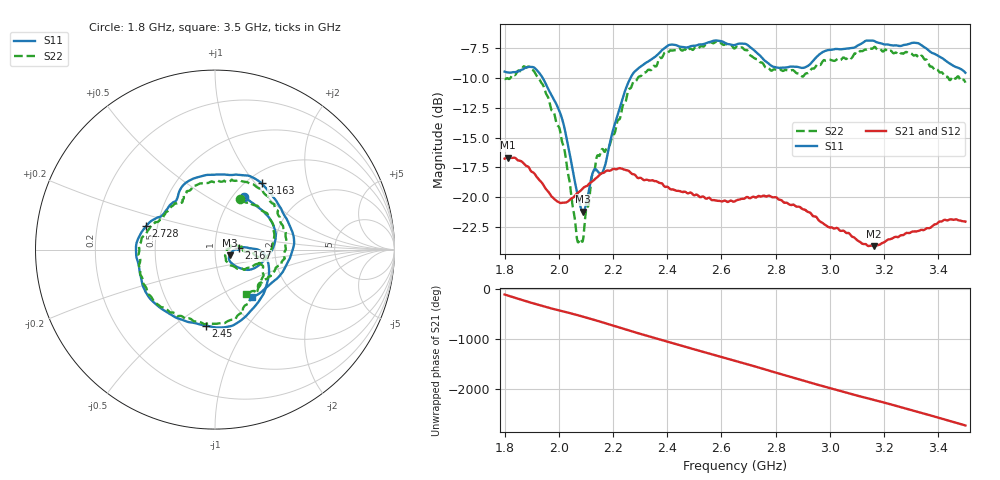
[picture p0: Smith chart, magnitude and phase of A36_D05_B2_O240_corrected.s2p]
! Created with skrf 1.9.0 (http://scikit-rf.org).
# Hz S RI R 50.0
!freq ReS11 ImS11 ReS21 ImS21 ReS12 ImS12 ReS22 ImS22
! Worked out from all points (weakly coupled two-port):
!   1601 points, 1.8 GHz to 3.5 GHz, reference 50 ohm
!   highest |S21| = -16.67 dB at 1.812 GHz (marker M1); lowest = -24.1 dB at 3.162 GHz (marker M2)
!   lowest |S11| = -21.2 dB at 2.09 GHz (marker M3), VSWR 1.19, Z = 58.7 - j3.85 ohm
!   |S11| at or under -10 dB: 1.941 GHz to 2.264 GHz (323.6 MHz wide, 15.4 % of centre)
!   |S22| runs from -23.8 to -7.0 dB; largest |S21 - S12| = 0.0026
!   S11 on the Smith chart (normalised r, x): 1.8 GHz: 1.13, +0.75; 2.167 GHz: 1.30, +0.02; 2.45 GHz: 0.64, -0.66; 2.728 GHz: 0.43, +0.13; 3.163 GHz: 1.16, +1.08; 3.5 GHz: 1.27, -0.75
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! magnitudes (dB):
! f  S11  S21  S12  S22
! 1.8 GHz  -9.5  -16.8  -16.8  -10.1
! 1.812 GHz  -9.5  -16.7  -16.7  -10.0
! 1.887 GHz  -9.1  -17.4  -17.5  -9.0
! 1.942 GHz  -10.1  -18.9  -18.9  -10.6
! 2.013 GHz  -13.5  -20.5  -20.5  -15.4
! 2.067 GHz  -19.5  -19.7  -19.7  -23.4
! 2.084 GHz  -21.0  -19.4  -19.3  -23.6
! 2.09 GHz  -21.2  -19.2  -19.3  -23.4
! 2.129 GHz  -17.7  -18.6  -18.5  -18.0
! 2.167 GHz  -17.6  -17.9  -17.9  -16.1
! 2.26 GHz  -10.2  -17.8  -17.8  -10.9
! 2.367 GHz  -8.0  -18.8  -18.7  -8.5
! 2.45 GHz  -7.4  -19.5  -19.5  -7.6
! 2.65 GHz  -7.2  -20.3  -20.3  -7.5
! 2.728 GHz  -7.8  -20.0  -20.0  -8.4
! 2.805 GHz  -9.1  -20.1  -20.1  -9.3
! 2.934 GHz  -8.7  -21.5  -21.4  -9.2
! 3.162 GHz  -6.9  -24.1  -24.1  -7.4
! 3.163 GHz  -6.9  -24.1  -24.1  -7.4
! 3.217 GHz  -7.2  -23.5  -23.5  -7.8
! 3.326 GHz  -7.1  -22.8  -22.8  -8.3
! 3.5 GHz  -9.6  -22.0  -22.0  -10.4
